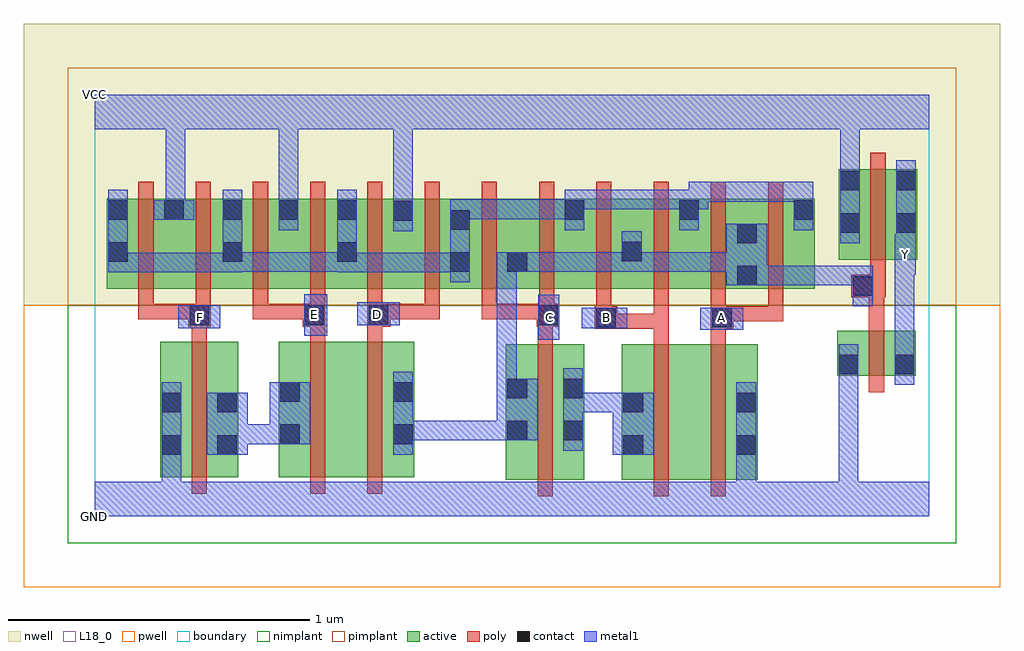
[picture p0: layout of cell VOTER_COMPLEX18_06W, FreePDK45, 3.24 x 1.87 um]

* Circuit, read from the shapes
.subckt VOTER_COMPLEX18_06W A B C D E F GND VCC Y
M1 n1 F GND VSUBS nfet w=0.45u l=0.05u
M2 n2 E n1 VSUBS nfet w=0.45u l=0.05u
M3 n3 D n2 VSUBS nfet w=0.45u l=0.05u
M4 n4 C n3 VSUBS nfet w=0.45u l=0.05u
M5 n5 B n4 VSUBS nfet w=0.45u l=0.05u
M6 GND A n5 VSUBS nfet w=0.45u l=0.05u
M7 Y n3 GND VSUBS nfet w=0.15u l=0.05u
M8 VCC F n6 n7 pfet w=0.3u l=0.05u m=2
M9 VCC E n6 n7 pfet w=0.3u l=0.05u m=2
M10 VCC D n6 n7 pfet w=0.3u l=0.05u m=2
M11 n3 C n6 n7 pfet w=0.3u l=0.05u m=2
M12 n3 B n6 n7 pfet w=0.3u l=0.05u m=2
M13 n3 A n6 n7 pfet w=0.3u l=0.05u m=2
M14 Y n3 VCC n7 pfet w=0.3u l=0.05u
.ends

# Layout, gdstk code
import gdstk
lib = gdstk.Library(unit=1e-6, precision=1e-09)
def R(c, l, rs):  # rectangles x0, y0, x1, y1
    for r in rs: c.add(gdstk.rectangle(r[:2], r[2:], *l))
def A(c, l, x, y, w, h, nx, ny, dx, dy):  # array of equal rectangles
    R(c, l, [(x+i*dx, y+j*dy, x+i*dx+w, y+j*dy+h) for i in range(nx) for j in range(ny)])
active = (1, 0)
pwell = (2, 0)
nwell = (3, 0)
nimplant = (4, 0)
pimplant = (5, 0)
poly = (9, 0)
contact = (10, 0)
metal1 = (11, 0)
L18_0 = (18, 0)
boundary = (235, 0)

voter_complex18_06w = lib.new_cell('VOTER_COMPLEX18_06W')
A(voter_complex18_06w, active, 0.04, 0.755, 0.075, 0.3, 3, 1, 0.38, 0)
A(voter_complex18_06w, active, 0.04, 0.755, 0.26, 0.3, 3, 1, 0.38, 0)
A(voter_complex18_06w, active, 0.985, 0.755, 0.265, 0.3, 5, 1, 0.19, 0)
A(voter_complex18_06w, active, 0.225, 0.852, 0.075, 0.203, 3, 1, 0.38, 0)
R(voter_complex18_06w, active, [(1.365,0.122,1.625,0.572), (1.75,0.122,1.975,0.572), (1.975,0.122,2.2,0.572), (0.217,0.13,0.477,0.58), (0.61,0.13,0.835,0.58), (0.835,0.13,1.06,0.58), (0.217,0.195,0.292,0.58), (0.402,0.195,0.477,0.58), (0.61,0.195,0.715,0.58), (0.985,0.195,1.06,0.58), (1.365,0.195,1.44,0.572), (1.55,0.195,1.625,0.572), (1.75,0.195,1.855,0.572), (2.125,0.195,2.2,0.572), (2.465,0.467,2.54,0.617), (2.465,0.467,2.725,0.617), (2.65,0.467,2.725,0.617), (0.225,0.755,0.495,1.055), (0.605,0.755,0.875,1.055), (1.175,0.755,1.25,1.055), (1.935,0.755,2.202,1.055), (2.127,0.755,2.39,1.055), (2.315,0.755,2.39,1.055), (2.127,0.762,2.202,1.055), (1.365,0.807,1.44,1.055), (1.745,0.842,1.82,1.055), (1.555,0.852,1.63,1.055), (1.935,0.852,2.01,1.055), (2.47,0.852,2.545,1.152), (2.47,0.852,2.73,1.152), (2.655,0.852,2.73,1.152)])
R(voter_complex18_06w, pwell, [(-0.235,-0.235,3.005,0.7)])
R(voter_complex18_06w, nwell, [(-0.235,0.7,3.005,1.635)])
R(voter_complex18_06w, nimplant, [(-0.09,-0.09,2.86,0.7)])
R(voter_complex18_06w, pimplant, [(-0.09,0.7,2.86,1.49)])
A(voter_complex18_06w, poly, 0.145, 0.655, 0.05, 0.095, 8, 1, 0.19, 0)
A(voter_complex18_06w, poly, 0.145, 0.7, 0.05, 0.41, 12, 1, 0.19, 0)
R(voter_complex18_06w, poly, [(1.47,0.067,1.52,0.627), (1.855,0.067,1.905,0.627), (2.045,0.067,2.095,0.627), (0.322,0.075,0.372,0.635), (0.715,0.075,0.765,0.635), (0.905,0.075,0.955,0.635), (2.57,0.412,2.62,0.672), (1.47,0.577,1.52,0.68), (1.855,0.577,1.905,0.672), (2.045,0.577,2.095,0.672), (0.322,0.585,0.372,0.68), (0.715,0.585,0.765,0.68), (0.905,0.585,0.955,0.68), (1.66,0.622,1.735,0.697), (1.685,0.622,1.735,0.672), (1.685,0.622,1.735,0.672), (1.685,0.622,1.905,0.672), (1.855,0.622,1.905,0.672), (1.855,0.622,1.905,0.75), (2.045,0.622,2.12,0.697), (2.57,0.622,2.62,0.777), (0.31,0.63,0.385,0.705), (0.69,0.63,0.765,0.705), (0.905,0.63,0.98,0.705), (1.467,0.63,1.542,0.705), (1.665,0.647,1.715,0.75), (2.045,0.647,2.095,0.75), (2.07,0.647,2.285,0.697), (2.07,0.647,2.12,0.697), (2.07,0.647,2.12,0.697), (2.235,0.647,2.285,0.75), (2.235,0.647,2.285,0.697), (0.145,0.655,0.36,0.705), (0.145,0.655,0.195,0.705), (0.145,0.655,0.195,0.705), (0.145,0.655,0.195,0.705), (0.525,0.655,0.74,0.705), (0.525,0.655,0.575,0.705), (0.525,0.655,0.575,0.705), (0.525,0.655,0.575,0.705), (0.93,0.655,1.145,0.705), (1.095,0.655,1.145,0.705), (1.095,0.655,1.145,0.705), (1.095,0.655,1.145,0.705), (1.285,0.655,1.335,0.705), (1.285,0.655,1.517,0.705), (1.467,0.655,1.517,0.705), (1.467,0.655,1.517,0.705), (2.512,0.727,2.625,0.802), (2.575,0.752,2.625,0.847), (2.575,0.797,2.625,1.207)])
A(voter_complex18_06w, contact, 0.045, 0.845, 0.065, 0.065, 3, 1, 0.38, 0)
A(voter_complex18_06w, contact, 1.56, 0.985, 0.065, 0.065, 3, 1, 0.38, 0)
R(voter_complex18_06w, contact, [(0.222,0.205,0.287,0.27), (0.407,0.205,0.472,0.27), (1.755,0.205,1.82,0.27), (2.13,0.205,2.195,0.27), (0.615,0.24,0.68,0.305), (0.99,0.24,1.055,0.305), (1.37,0.252,1.435,0.317), (1.555,0.252,1.62,0.317), (0.222,0.345,0.287,0.41), (0.407,0.345,0.472,0.41), (1.755,0.345,1.82,0.41), (2.13,0.345,2.195,0.41), (0.615,0.38,0.68,0.445), (0.99,0.38,1.055,0.445), (1.37,0.392,1.435,0.457), (1.555,0.392,1.62,0.457), (2.47,0.472,2.535,0.537), (2.655,0.472,2.72,0.537), (1.665,0.627,1.73,0.692), (2.05,0.627,2.115,0.692), (0.315,0.635,0.38,0.7), (0.695,0.635,0.76,0.7), (0.91,0.635,0.975,0.7), (1.472,0.635,1.537,0.7), (2.517,0.732,2.582,0.797), (2.132,0.767,2.197,0.832), (1.18,0.812,1.245,0.877), (1.37,0.812,1.435,0.877), (1.75,0.847,1.815,0.912), (2.132,0.907,2.197,0.972), (2.475,0.942,2.54,1.007), (2.66,0.942,2.725,1.007), (1.18,0.952,1.245,1.017), (0.99,0.982,1.055,1.047), (0.045,0.985,0.11,1.05), (0.23,0.985,0.295,1.05), (0.425,0.985,0.49,1.05), (0.61,0.985,0.675,1.05), (0.805,0.985,0.87,1.05), (2.475,1.082,2.54,1.147), (2.66,1.082,2.725,1.147)])
A(voter_complex18_06w, metal1, 0.045, 0.81, 0.065, 0.275, 3, 1, 0.38, 0)
R(voter_complex18_06w, metal1, [(0,0,2.77,0.115), (0.222,0.05,0.287,0.235), (2.13,0.05,2.195,0.235), (2.47,0.05,2.535,0.115), (2.47,0.05,2.535,0.115), (2.47,0.05,2.535,0.502), (0.222,0.17,0.287,0.445), (0.222,0.17,0.287,0.235), (0.222,0.17,0.287,0.235), (2.13,0.17,2.195,0.445), (2.13,0.17,2.195,0.235), (2.13,0.17,2.195,0.235), (0.372,0.205,0.507,0.41), (0.99,0.205,1.055,0.48), (1.72,0.205,1.855,0.41), (1.555,0.217,1.62,0.492), (0.442,0.24,0.507,0.305), (0.442,0.24,0.507,0.305), (0.442,0.24,0.645,0.305), (0.58,0.24,0.715,0.445), (0.99,0.252,1.055,0.317), (0.99,0.252,1.055,0.317), (0.99,0.252,1.222,0.317), (1.157,0.252,1.222,0.317), (1.157,0.252,1.222,0.317), (1.157,0.252,1.222,0.317), (1.157,0.252,1.4,0.317), (1.335,0.252,1.47,0.457), (1.555,0.345,1.762,0.41), (1.697,0.345,1.762,0.41), (1.697,0.345,1.785,0.41), (1.335,0.392,1.4,0.457), (1.335,0.392,1.4,0.457), (1.335,0.392,1.4,0.877), (2.47,0.437,2.535,0.572), (2.47,0.437,2.535,0.502), (2.47,0.437,2.535,0.502), (2.47,0.437,2.535,0.502), (2.47,0.437,2.535,0.502), (2.655,0.437,2.72,0.572), (2.655,0.507,2.72,0.867), (1.472,0.587,1.542,0.735), (0.695,0.6,0.772,0.737), (2.01,0.62,2.152,0.692), (0.277,0.625,0.417,0.7), (1.617,0.625,1.767,0.692), (0.872,0.635,1.012,0.71), (2.517,0.697,2.582,0.832), (2.097,0.767,2.232,0.972), (2.167,0.767,2.385,0.832), (2.32,0.767,2.385,0.832), (2.32,0.767,2.385,0.832), (2.32,0.767,2.385,0.832), (2.32,0.767,2.582,0.832), (2.517,0.767,2.582,0.832), (2.517,0.767,2.582,0.832), (2.517,0.767,2.582,0.832), (2.517,0.767,2.582,0.832), (1.18,0.777,1.245,1.052), (2.655,0.802,2.725,0.937), (0.045,0.81,0.11,0.875), (0.045,0.81,0.11,0.875), (0.045,0.81,0.3,0.875), (0.235,0.81,0.3,0.875), (0.235,0.81,0.3,0.875), (0.235,0.81,0.3,0.875), (0.235,0.81,0.49,0.875), (0.805,0.81,0.87,0.875), (0.805,0.81,0.87,0.875), (0.805,0.81,1.085,0.875), (1.02,0.81,1.085,0.875), (1.02,0.81,1.085,0.875), (1.02,0.81,1.085,0.875), (1.02,0.81,1.245,0.875), (0.425,0.812,0.49,0.877), (0.425,0.812,0.49,0.877), (0.425,0.812,0.732,0.877), (0.667,0.812,0.732,0.877), (0.667,0.812,0.732,0.877), (0.667,0.812,0.732,0.877), (0.667,0.812,0.87,0.877), (1.335,0.812,1.47,0.877), (1.405,0.812,1.47,0.877), (1.405,0.812,1.47,0.877), (1.405,0.812,1.625,0.877), (1.56,0.812,1.625,0.877), (1.56,0.812,1.762,0.877), (1.697,0.812,1.762,0.877), (1.697,0.812,1.815,0.877), (1.75,0.812,1.815,0.947), (1.75,0.812,1.9,0.877), (1.835,0.812,1.9,0.877), (1.835,0.812,1.952,0.877), (1.887,0.812,1.952,0.877), (1.887,0.812,2.11,0.877), (2.045,0.812,2.11,0.877), (2.045,0.812,2.162,0.877), (2.66,0.872,2.725,0.972), (2.475,0.907,2.54,1.182), (2.66,0.907,2.725,1.182), (0.99,0.947,1.055,1.082), (0.61,0.95,0.675,1.085), (1.56,0.95,1.625,1.085), (1.94,0.95,2.005,1.085), (2.32,0.95,2.385,1.11), (0.195,0.985,0.33,1.05), (0.235,0.985,0.3,1.35), (1.18,0.987,1.245,1.052), (1.18,0.987,1.245,1.052), (1.18,0.987,1.245,1.052), (1.18,0.987,1.245,1.052), (1.18,0.987,1.382,1.052), (1.317,0.987,1.382,1.052), (1.317,0.987,1.382,1.052), (1.317,0.987,1.382,1.052), (1.317,0.987,1.625,1.052), (0.99,1.017,1.055,1.082), (0.99,1.017,1.055,1.082), (0.99,1.017,1.055,1.35), (0.61,1.02,0.675,1.085), (0.61,1.02,0.675,1.085), (0.61,1.02,0.675,1.35), (1.56,1.02,1.762,1.085), (1.697,1.02,1.762,1.085), (1.697,1.02,1.762,1.085), (1.697,1.02,1.762,1.085), (1.697,1.02,1.9,1.085), (1.835,1.02,1.9,1.085), (1.835,1.02,2.005,1.085), (1.94,1.02,2.037,1.085), (1.972,1.02,2.037,1.11), (1.972,1.045,2.247,1.11), (2.182,1.045,2.247,1.11), (2.182,1.045,2.247,1.11), (2.182,1.045,2.247,1.11), (2.182,1.045,2.385,1.11), (2.475,1.117,2.54,1.35), (0,1.285,2.77,1.4), (0.235,1.285,0.3,1.35), (0.235,1.285,0.3,1.35), (2.475,1.285,2.54,1.35), (2.475,1.285,2.54,1.35)])
R(voter_complex18_06w, L18_0, [(0,0,2.77,0.115), (0.222,0.05,0.287,0.235), (2.13,0.05,2.195,0.235), (2.47,0.05,2.535,0.115), (2.47,0.05,2.535,0.115), (2.47,0.05,2.535,0.502), (0.222,0.17,0.287,0.235), (0.222,0.17,0.287,0.235), (0.222,0.17,0.287,0.445), (2.13,0.17,2.195,0.235), (2.13,0.17,2.195,0.235), (2.13,0.17,2.195,0.445), (2.47,0.437,2.535,0.502), (2.47,0.437,2.535,0.502), (2.47,0.437,2.535,0.502), (2.47,0.437,2.535,0.502), (2.47,0.437,2.535,0.572), (2.655,0.437,2.72,0.572), (2.655,0.507,2.72,0.867), (1.472,0.587,1.542,0.735), (0.695,0.6,0.772,0.737), (2.01,0.62,2.152,0.692), (0.277,0.625,0.417,0.7), (1.617,0.625,1.767,0.692), (0.317,0.627,0.382,0.692), (1.477,0.627,1.542,0.692), (1.667,0.627,1.732,0.692), (2.047,0.627,2.112,0.692), (0.872,0.635,1.012,0.71), (0.697,0.637,0.762,0.702), (0.907,0.637,0.972,0.702), (2.655,0.802,2.725,0.937), (2.657,0.837,2.722,0.902), (2.66,0.872,2.725,0.972), (2.475,0.907,2.54,1.182), (2.66,0.907,2.725,1.182), (0.99,0.947,1.055,1.082), (0.61,0.95,0.675,1.085), (0.195,0.985,0.33,1.05), (0.235,0.985,0.3,1.35), (0.99,1.017,1.055,1.082), (0.99,1.017,1.055,1.082), (0.99,1.017,1.055,1.35), (0.61,1.02,0.675,1.085), (0.61,1.02,0.675,1.085), (0.61,1.02,0.675,1.35), (2.475,1.117,2.54,1.35), (0,1.285,2.77,1.4), (0.235,1.285,0.3,1.35), (0.235,1.285,0.3,1.35), (2.475,1.285,2.54,1.35), (2.475,1.285,2.54,1.35)])
R(voter_complex18_06w, boundary, [(0,0,2.77,1.4)])
voter_complex18_06w.add(gdstk.Label('A', (2.08,0.66), layer=11, texttype=0))
voter_complex18_06w.add(gdstk.Label('B', (1.7,0.66), layer=11, texttype=0))
voter_complex18_06w.add(gdstk.Label('C', (1.51,0.66), layer=11, texttype=0))
voter_complex18_06w.add(gdstk.Label('D', (0.94,0.67), layer=11, texttype=0))
voter_complex18_06w.add(gdstk.Label('E', (0.73,0.67), layer=11, texttype=0))
voter_complex18_06w.add(gdstk.Label('F', (0.35,0.66), layer=11, texttype=0))
voter_complex18_06w.add(gdstk.Label('Y', (2.69,0.87), layer=11, texttype=0))
voter_complex18_06w.add(gdstk.Label('VCC', (0,1.4), layer=11, texttype=0))
voter_complex18_06w.add(gdstk.Label('GND', (0,0), layer=11, texttype=0))

lib.write_gds('VOTER_COMPLEX18_06W.gds')
